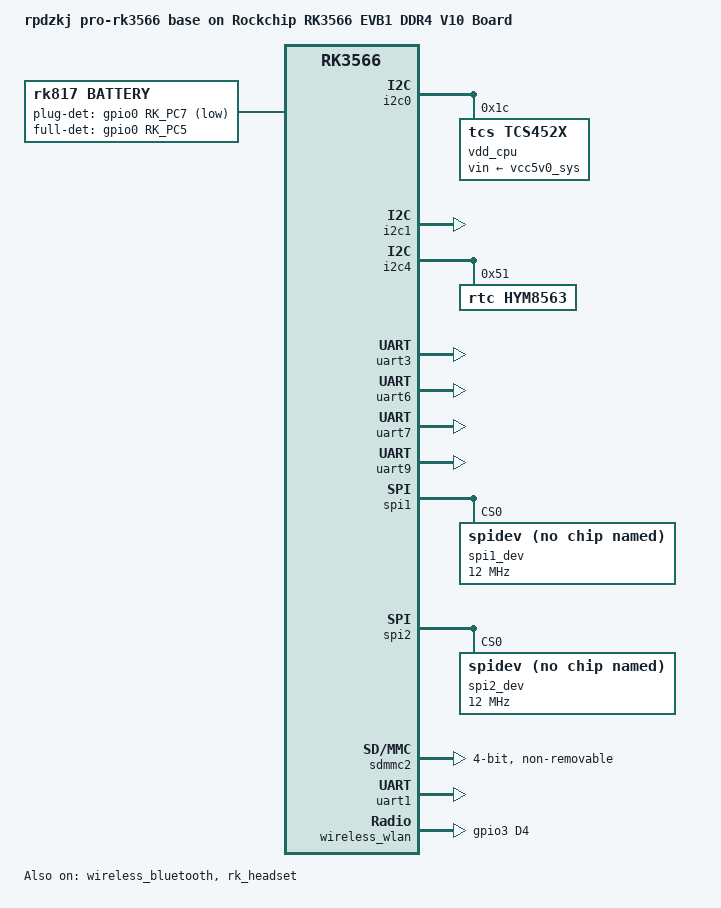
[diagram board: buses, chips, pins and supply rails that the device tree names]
// SPDX-License-Identifier: (GPL-2.0+ OR MIT)
/*
 * Copyright (c) 2020 Rockchip Electronics Co., Ltd.
 *
 */

/dts-v1/;

//rk3566-evb1-ddr4-v10
//#include "rk3566-evb1-ddr4-v10.dtsi"

#include "rk3566-evb-rpdzkj-rk809.dtsi"


#include "rk3568-linux.dtsi"
/*************************camera***********************/
//#include "rp-mipi-camera-gc2093-rk3566.dtsi"
#include "rp-mipi-camera-gc2093-imx334-imx415-rk3566.dtsi"
/***************************************************/


/*************************adc key***********************/
#include "rp-adc-key.dtsi"
/***************************************************/

/*************************gmac***********************/
#include "rp-gmac1-m0-pro-rk3566.dtsi"
/***************************************************/


/*************************SATA***********************/
#include "rk3568-sata2.dtsi"
/***************************************************/

/****************** SINGLE LCD ***************/
#include "pro-rk3566-single-lcd-gpio.dtsi"

/* HDMI */
//#include "rp-lcd-hdmi.dtsi"

/* MIPI0 */
//#include "rp-lcd-mipi0-5-720-1280-v2-boxTP.dtsi"
//#include "rp-lcd-mipi0-5.5-720-1280.dtsi"
//#include "rp-lcd-mipi0-5.5-720-1280-v2.dtsi"
//#include "rp-lcd-mipi0-5.5-1080-1920.dtsi"
#include "rp-lcd-mipi0-7-1024-600.dtsi"
//#include "rp-lcd-mipi0-7-720-1280.dtsi"
//#include "rp-lcd-mipi0-7-1200-1920.dtsi"
//#include "rp-lcd-mipi0-8-800-1280.dtsi"
//#include "rp-lcd-mipi0-8-800-1280-v2.dtsi"
//#include "rp-lcd-mipi0-8-800-1280-v3.dtsi"
//#include "rp-lcd-mipi0-8-1200-1920.dtsi"
//#include "rp-lcd-mipi0-10-800-1280.dtsi"
//#include "rp-lcd-mipi0-10-800-1280-v2.dtsi"
//#include "rp-lcd-mipi0-10-800-1280-v3.dtsi"
//#include "rp-lcd-mipi0-10-1920-1200.dtsi"

/* MIPI1 */
//#include "rp-lcd-mipi1-7-1024-600.dtsi"

/* LVDS */
//#include "rp-lcd-lvds-10-1024-600.dtsi"
//#include "rp-lcd-lvds-7-1024-600-v2.dtsi"
//#include "rp-lcd-lvds-10-1280-800.dtsi"
/* EDP */
//#include "rp-lcd-edp-13-1920-1080.dtsi"






/ {
	model = "rpdzkj pro-rk3566 base on Rockchip RK3566 EVB1 DDR4 V10 Board";
	compatible = "rpdzkj,pro-rk3566", "rockchip,rk3566";

        
        rp_power{
                status = "okay";
                compatible = "rp_power";
                rp_not_deep_sleep = <1>;

//#define GPIO_FUNCTION_OUTPUT 0
//#define GPIO_FUNCTION_INPUT 1
//#define GPIO_FUNCTION_IRQ 2
//#define GPIO_FUNCTION_FLASH 3
//#define GPIO_FUNCTION_OUTPUT_CTRL 4

                pwr_5v_3v3 {	//3.3v 5v enable
                        gpio_num = <&gpio2 RK_PB3 GPIO_ACTIVE_HIGH>;
                        gpio_function = <0>;
                };
                
                led {       //system led
                        gpio_num = <&gpio3 RK_PC2 GPIO_ACTIVE_HIGH>;
                        gpio_function = <4>;
                };
                
                usb_pwr {       //usb host power and otg power
                        gpio_num = <&gpio0 RK_PA6 GPIO_ACTIVE_HIGH>;
                        gpio_function = <4>;
                };

                usb_rst {       //usb hub reset
                        gpio_num = <&gpio0 RK_PB0 GPIO_ACTIVE_HIGH>;
                        gpio_function = <4>;
                };

                spk_en {       //SPK ENABLE
                        gpio_num = <&gpio4 RK_PC4 GPIO_ACTIVE_HIGH>;
                        gpio_function = <4>;
                };

                spk_mute {       //SPK MUTE
                        gpio_num = <&gpio0 RK_PA0 GPIO_ACTIVE_LOW>;
                        gpio_function = <4>;
                };
                usb_mode {       //OTG SWITCH
                        gpio_num = <&gpio0 RK_PC2 GPIO_ACTIVE_LOW>;
                        gpio_function = <0>;
                };
};



        rp_gpio{
                status = "okay";
                compatible = "rp_gpio";

/***** SPI_FLASH ********/
                gpio1d0 {      
                        gpio_num = <&gpio1 RK_PD0 GPIO_ACTIVE_HIGH>;
                        gpio_function = <0>;
                };
                gpio1d1 {       
                        gpio_num = <&gpio1 RK_PD1 GPIO_ACTIVE_HIGH>;
                        gpio_function = <0>;
                };

                gpio1d2 {       
                        gpio_num = <&gpio1 RK_PD2 GPIO_ACTIVE_HIGH>;
                        gpio_function = <0>;
                };
                gpio1d3 {       
                        gpio_num = <&gpio1 RK_PD3 GPIO_ACTIVE_HIGH>;
                        gpio_function = <0>;
                };

                gpio1d4 {       
                        gpio_num = <&gpio1 RK_PD4 GPIO_ACTIVE_HIGH>;
                        gpio_function = <0>;
                };

/***** PDM ********/

                gpio4a0 {
                        gpio_num = <&gpio4 RK_PA0 GPIO_ACTIVE_HIGH>;
                        gpio_function = <0>;
                };

                gpio4a1 {
                        gpio_num = <&gpio4 RK_PA1 GPIO_ACTIVE_HIGH>;
                        gpio_function = <0>;
                };
                gpio4a2 {
                        gpio_num = <&gpio4 RK_PA2 GPIO_ACTIVE_HIGH>;
                        gpio_function = <0>;
                };

                gpio4a3 {
                        gpio_num = <&gpio4 RK_PA3 GPIO_ACTIVE_HIGH>;
                        gpio_function = <0>;
                };
	};
    
	test-power {
        /** disable for use rk809-battery */
		status = "disabled";
	};
    charge-animation {
        compatible = "rockchip,uboot-charge";
        rockchip,uboot-charge-on = <0>;
        rockchip,android-charge-on = <0>;
        rockchip,uboot-low-power-voltage = <7000>;
        rockchip,screen-on-voltage = <7000>;
        status = "okay";
    };
};


&pmu_io_domains {
        status = "okay";
        pmuio2-supply = <&vcc3v3_pmu>;
        vccio1-supply = <&vccio_acodec>;
        vccio3-supply = <&vccio_sd>;
        vccio4-supply = <&vcc_3v3>;
        vccio5-supply = <&vcc_3v3>;
        vccio6-supply = <&vcc_1v8>;
        vccio7-supply = <&vcc_3v3>;
};



&i2c0 {
        status = "okay";
        vdd_cpu: tcs4525@1c {
                compatible = "tcs,tcs452x";
                reg = <0x1c>;
                vin-supply = <&vcc5v0_sys>;
                regulator-compatible = "fan53555-reg";
                regulator-name = "vdd_cpu";
                regulator-min-microvolt = <712500>;
                regulator-max-microvolt = <1390000>;
                regulator-init-microvolt = <1000000>;
                regulator-ramp-delay = <2300>;
                fcs,suspend-voltage-selector = <1>;
                regulator-boot-on;
                regulator-always-on;
                regulator-state-mem {
                        regulator-off-in-suspend;
                };
        };
};


&cpu0_opp_table {

		opp-408000000 {
			opp-hz = /bits/ 64 <408000000>;
			opp-microvolt = <825000 825000 1150000>;
			opp-microvolt-L0 = <825000 825000 1150000>;
			opp-microvolt-L1 = <800000 800000 1150000>;
			opp-microvolt-L2 = <800000 800000 1150000>;
			clock-latency-ns = <40000>;
		};
		opp-600000000 {
			opp-hz = /bits/ 64 <600000000>;
			opp-microvolt = <850000 850000 1150000>;
			opp-microvolt-L0 = <850000 850000 1150000>;
			opp-microvolt-L1 = <825000 825000 1150000>;
			opp-microvolt-L2 = <825000 825000 1150000>;
			clock-latency-ns = <40000>;
		};
		opp-816000000 {
			opp-hz = /bits/ 64 <816000000>;
			opp-microvolt = <900000 900000 1150000>;
			opp-microvolt-L0 = <900000 900000 1150000>;
			opp-microvolt-L1 = <875000 875000 1150000>;
			opp-microvolt-L2 = <875000 875000 1150000>;
			clock-latency-ns = <40000>;
			opp-suspend;
		};
		opp-1104000000 {
			opp-hz = /bits/ 64 <1104000000>;
			opp-microvolt = <950000 950000 1150000>;
			opp-microvolt-L0 = <950000 950000 1150000>;
			opp-microvolt-L1 = <925000 925000 1150000>;
			opp-microvolt-L2 = <925000 925000 1150000>;
			clock-latency-ns = <40000>;
		};
		opp-1416000000 {
			opp-hz = /bits/ 64 <1416000000>;
			opp-microvolt = <1000000 1000000 1150000>;
			opp-microvolt-L0 = <1000000 1000000 1150000>;
			opp-microvolt-L1 = <975000 975000 1150000>;
			opp-microvolt-L2 = <975000 975000 1150000>;
			clock-latency-ns = <40000>;
		};
		opp-1608000000 {
			opp-hz = /bits/ 64 <1608000000>;
			opp-microvolt = <1050000 1050000 1150000>;
			opp-microvolt-L0 = <1050000 1050000 1150000>;
			opp-microvolt-L1 = <1025000 1025000 1150000>;
			opp-microvolt-L2 = <1025000 1025000 1150000>;
			clock-latency-ns = <40000>;
		};

		opp-1800000000 {
			opp-hz = /bits/ 64 <1800000000>;
			opp-microvolt = <1100000 1100000 1150000>;
			opp-microvolt-L0 = <1100000 1100000 1150000>;
			opp-microvolt-L1 = <1075000 1075000 1150000>;
			opp-microvolt-L2 = <1075000 1075000 1150000>;
			clock-latency-ns = <40000>;
		};

};


&i2c1 {
	status = "okay";
};

&i2c4 {
	status = "okay";
	pinctrl-names = "default";
	pinctrl-0 = <&i2c4m1_xfer>;

        rtc@51 {
                status = "okay";
                compatible = "rtc,hym8563";
                reg = <0x51>;
        };
};

&uart3 {
	status = "okay";
	pinctrl-names = "default";
	pinctrl-0 = <&uart3m0_xfer>;
};

&uart6 {
        status = "okay";
        pinctrl-names = "default";
        pinctrl-0 = <&uart6m0_xfer>;
};

&uart7 {
        status = "okay";
        pinctrl-names = "default";
        pinctrl-0 = <&uart7m0_xfer>;
};

&uart9 {
        status = "okay";
        pinctrl-names = "default";
        pinctrl-0 = <&uart9m0_xfer>;
};

&spi1 {
	status = "okay";

    spi1_dev@0 {
        compatible = "rockchip,spidev";
        reg = <0>;
        spi-max-frequency = <12000000>;
        spi-lsb-first;
    };

};

&spi2 {
        status = "okay";

    spi2_dev@0 {
        compatible = "rockchip,spidev";
        reg = <0>;
        spi-max-frequency = <12000000>;
        spi-lsb-first;
    };

};
&edp {
    /** delete hdp gpio that pro3566 donot use */
    /delete-property/ hpd-gpios;
};

&dmc {
	status = "disabled";
};

&dfi {
	status = "disabled";
};

&rk809 {
	battery {
                compatible = "rk817,battery";
                pinctrl-names = "default";
                pinctrl-0 = <&rp_bat_pins>;

                ocv_table = < 7024 7072 7080 7096 7104 7112 7120
                              7136 7152 7168 7184 7224 7264 7320
                              7392 7512 7612 7724 7828 7928 8100>;
                design_capacity = <5000>;
                design_qmax = <5100>;
                bat_res = <100>;
                sleep_enter_current = <300>;
                sleep_exit_current = <300>;
                sleep_filter_current = <100>;
                power_off_thresd = <7024>;
                zero_algorithm_vol = <7400>;
                max_soc_offset = <60>;
                monitor_sec = <5>;
		
                sample_res = <20>;
                bat_res_up = <140>;
                bat_res_down = <20>;
                
                virtual_power = <0>;	//test mode, 1 to force report 66%
                energy_mode = <0>;
                register_chg_psy = <1>;	//rk817 report charge state
                
                plug-det-gpio = <&gpio0 RK_PC7 GPIO_ACTIVE_LOW>;   //rpdzkj add for detect charge state, need register_chg_psy = 1, active state is plugin.
                full-det-gpio = <&gpio0 RK_PC5 GPIO_ACTIVE_HIGH>;      //rpdzkj add for detect charge status whether is full.
        };
};



&sdmmc2 {
	max-frequency = <150000000>;
	supports-sdio;
	bus-width = <4>;
	disable-wp;
	cap-sd-highspeed;
	cap-sdio-irq;
	keep-power-in-suspend;
	mmc-pwrseq = <&sdio_pwrseq>;
	non-removable;
	pinctrl-names = "default";
	pinctrl-0 = <&sdmmc2m0_bus4 &sdmmc2m0_cmd &sdmmc2m0_clk>;
	sd-uhs-sdr104;
	status = "okay";
};

&uart1 {
	status = "okay";
	pinctrl-names = "default";
	pinctrl-0 = <&uart1m1_xfer &uart1m1_ctsn>;
};


&wireless_bluetooth {
	uart_rts_gpios = <&gpio4 RK_PB6 GPIO_ACTIVE_LOW>;
	pinctrl-names = "default", "rts_gpio";
	pinctrl-0 = <&uart1m1_rtsn>;
	pinctrl-1 = <&uart1_gpios>;
	BT,reset_gpio    = <&gpio4 RK_PA5 GPIO_ACTIVE_HIGH>;
	BT,wake_gpio     = <&gpio4 RK_PA6 GPIO_ACTIVE_HIGH>;
	BT,wake_host_irq = <&gpio4 RK_PB1 GPIO_ACTIVE_HIGH>;
	status = "okay";
};

&wireless_wlan {
	pinctrl-names = "default";
	pinctrl-0 = <&wifi_host_wake_irq>;
	WIFI,host_wake_irq = <&gpio3 RK_PD4 GPIO_ACTIVE_HIGH>;
};


        
&rk_headset {
		status = "okay";
	pinctrl-names = "default";
	pinctrl-0 = <&hp_det>;
	headset_gpio = <&gpio3 RK_PA1 GPIO_ACTIVE_HIGH>;
	};



&pinctrl {
    rp-pins {
        rp_bat_pins: rp-bat-pins {
            rockchip,pins =
                <0 RK_PC7 RK_FUNC_GPIO &pcfg_pull_up>,
                <0 RK_PC5 RK_FUNC_GPIO &pcfg_pull_none>;
        };
    };
    
    
	headphone {
		hp_det: hp-det {
			rockchip,pins = <3 RK_PA1 RK_FUNC_GPIO &pcfg_pull_down>;
		};
	};

    
	wireless-wlan {
		wifi_host_wake_irq: wifi-host-wake-irq {
			rockchip,pins = <3 RK_PD4 RK_FUNC_GPIO &pcfg_pull_down>;
		};
	};

	wireless-bluetooth {
		uart1_gpios: uart1-gpios {
			rockchip,pins = <4 RK_PB6 RK_FUNC_GPIO &pcfg_pull_none>;
		};
	};
};
